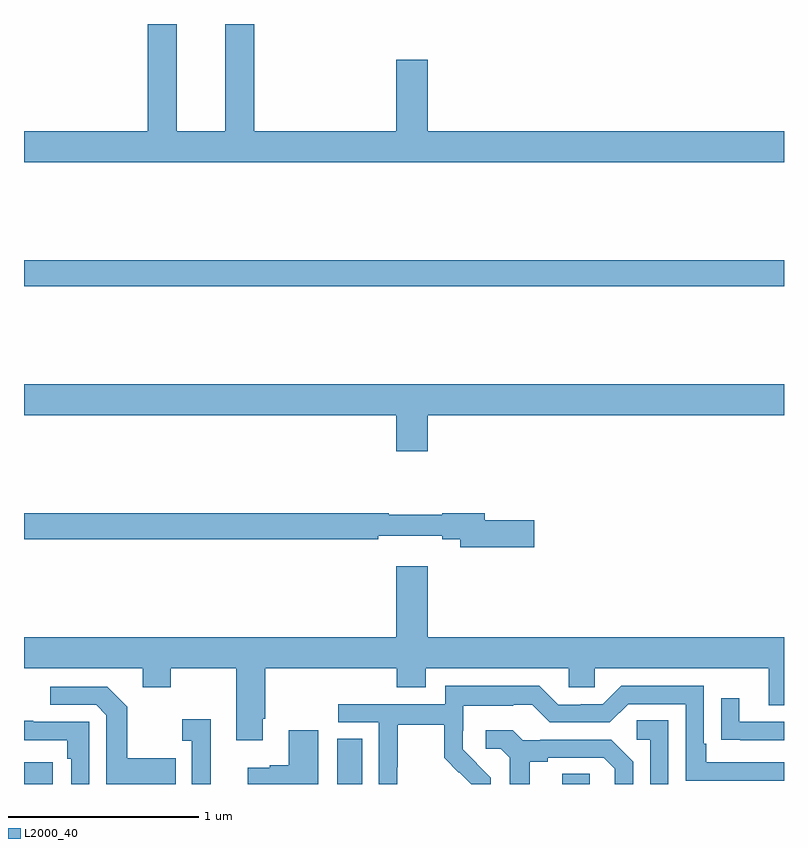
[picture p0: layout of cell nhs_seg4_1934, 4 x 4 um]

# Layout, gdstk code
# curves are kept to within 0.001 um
import gdstk
lib = gdstk.Library(unit=1e-6, precision=1e-09)
def R(c, l, rs):  # rectangles x0, y0, x1, y1
    for r in rs: c.add(gdstk.rectangle(r[:2], r[2:], *l))
def P(c, l, *ps):  # polygons
    for p in ps: c.add(gdstk.Polygon(p, *l))
L2000_40 = (2000, 40)

nhs_seg4_1934 = lib.new_cell('nhs_seg4_1934')
R(nhs_seg4_1934, L2000_40, [(211,774.9,211.15,775.014), (212.648,774.9,212.779,775.139), (213.833,774.9,213.978,774.953), (211,777.52,215,777.656)])
P(nhs_seg4_1934, L2000_40, [(215,778.336),(213.124,778.336),(213.124,778.711),(212.96,778.711),(212.96,778.336),(212.213,778.336),(212.213,778.9),(212.06,778.9),(212.06,778.336),(211.804,778.336),(211.804,778.9),(211.652,778.9),(211.652,778.336),(211,778.336),(211,778.172),(215,778.172)],
  [(213.124,776.84),(215,776.84),(215,777.004),(211,777.004),(211,776.84),(212.96,776.84),(212.96,776.652),(213.124,776.652)],
  [(213.685,776.288),(213.424,776.288),(213.424,776.324),(213.2,776.324),(213.2,776.317),(212.92,776.317),(212.92,776.324),(211,776.324),(211,776.188),(212.864,776.188),(212.864,776.207),(213.2,776.207),(213.2,776.188),(213.296,776.188),(213.296,776.146),(213.685,776.146)],
  [(212.257,775.243),(212.27,775.243),(212.27,775.508),(212.963,775.508),(212.963,775.409),(213.115,775.409),(213.115,775.508),(213.867,775.508),(213.867,775.41),(214.005,775.41),(214.005,775.508),(214.919,775.508),(214.919,775.314),(215,775.314),(215,775.672),(213.124,775.672),(213.124,776.047),(212.96,776.047),(212.96,775.672),(211,775.672),(211,775.508),(211.625,775.508),(211.625,775.409),(211.773,775.409),(211.773,775.508),(212.117,775.508),(212.117,775.131),(212.257,775.131)],
  [(212.964,774.988),(212.967,774.988),(212.967,775.212),(213.211,775.212),(213.211,775.037),(213.288,774.96),(213.291,774.963),(213.355,774.9),(213.456,774.9),(213.456,774.934),(213.31,775.082),(213.31,775.179),(213.312,775.179),(213.312,775.313),(213.575,775.313),(213.575,775.317),(213.675,775.317),(213.768,775.224),(214.083,775.224),(214.179,775.32),(214.482,775.32),(214.482,774.918),(215,774.918),(215,775.014),(214.591,775.014),(214.591,775.111),(214.578,775.111),(214.578,775.416),(214.143,775.416),(214.047,775.32),(213.929,775.32),(213.929,775.317),(213.813,775.317),(213.713,775.417),(213.216,775.417),(213.216,775.32),(212.655,775.32),(212.655,775.224),(212.868,775.224),(212.868,774.9),(212.964,774.9)],
  [(211.799,775.035),(211.543,775.035),(211.543,775.307),(211.437,775.413),(211.137,775.413),(211.137,775.317),(211.38,775.317),(211.434,775.263),(211.434,774.9),(211.799,774.9)],
  [(215,775.227),(214.765,775.227),(214.765,775.351),(214.669,775.351),(214.669,775.132),(214.771,775.132),(214.771,775.131),(215,775.131)],
  [(211.982,775.24),(211.833,775.24),(211.833,775.127),(211.884,775.127),(211.884,774.9),(211.982,774.9)],
  [(214.392,775.235),(214.224,775.235),(214.224,775.134),(214.296,775.134),(214.296,774.9),(214.392,774.9)],
  [(211.344,775.227),(211.049,775.227),(211.049,775.232),(211,775.232),(211,775.131),(211.228,775.131),(211.228,775.034),(211.248,775.034),(211.248,774.9),(211.344,774.9)],
  [(212.548,775.183),(212.393,775.183),(212.393,774.998),(212.294,774.998),(212.294,774.985),(212.178,774.985),(212.178,774.9),(212.548,774.9)],
  [(213.661,775.016),(213.757,775.016),(213.757,775.038),(214.052,775.038),(214.109,774.981),(214.109,774.9),(214.206,774.9),(214.206,775.018),(214.09,775.134),(213.718,775.134),(213.718,775.131),(213.624,775.131),(213.572,775.183),(213.429,775.183),(213.429,775.086),(213.51,775.086),(213.557,775.039),(213.557,774.9),(213.661,774.9)])

lib.write_gds('nhs_seg4_1934.gds')
